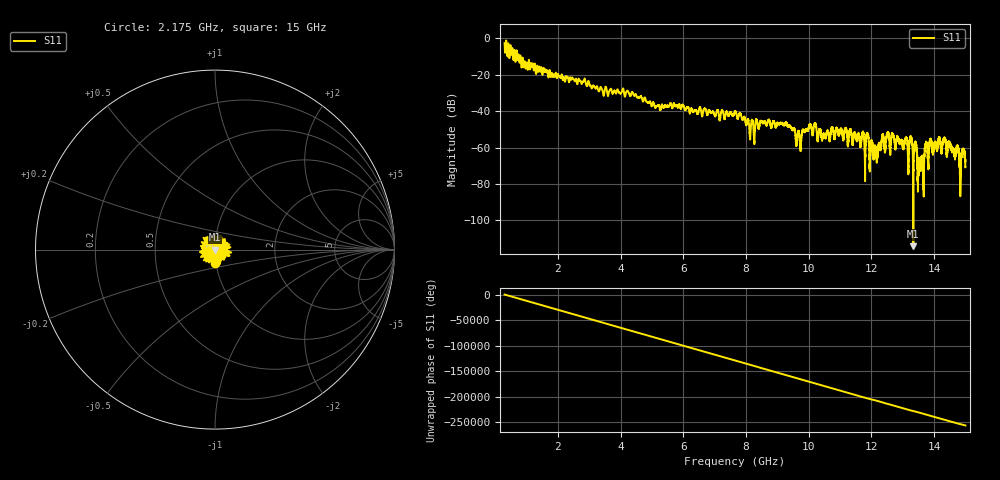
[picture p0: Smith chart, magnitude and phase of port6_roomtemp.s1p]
# GHZ S RI R 50.0
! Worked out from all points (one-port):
!   12801 points, 300 MHz to 15 GHz, reference 50 ohm
!   lowest |S11| = -114.1 dB at 13.34 GHz (marker M1), VSWR 1.00, Z = 50 - j0.00016 ohm
!   |S11| at or under -10 dB: 628 MHz to 667.3 MHz (39.32 MHz wide, 6.07 % of centre); 749.1 MHz to 796.9 MHz (47.88 MHz wide, 6.19 % of centre); 808.4 MHz to end of sweep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
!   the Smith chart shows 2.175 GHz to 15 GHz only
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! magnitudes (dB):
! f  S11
! 300 MHz  -2.6
! 971.8 MHz  -16.6
! 2.138 GHz  -21.2
! 3.975 GHz  -30.1
! 5.22 GHz  -36.8
! 5.812 GHz  -37.6
! 7.65 GHz  -40.2
! 8.199 GHz  -44.9
! 8.533 GHz  -46.6
! 9.488 GHz  -49.9
! 9.679 GHz  -50.7
! 10.02 GHz  -47.9
! 10.48 GHz  -52.5
! 10.94 GHz  -51.9
! 11.32 GHz  -50.0
! 11.7 GHz  -53.0
! 12.12 GHz  -58.9
! 12.52 GHz  -52.2
! 13.16 GHz  -62.6
! 13.34 GHz  -114.1
! 13.54 GHz  -67.1
! 13.62 GHz  -66.8
! 13.9 GHz  -55.5
! 14.32 GHz  -54.9
! 14.74 GHz  -60.2
! 14.84 GHz  -75.9
! 14.93 GHz  -60.4
! 15 GHz  -70.7
